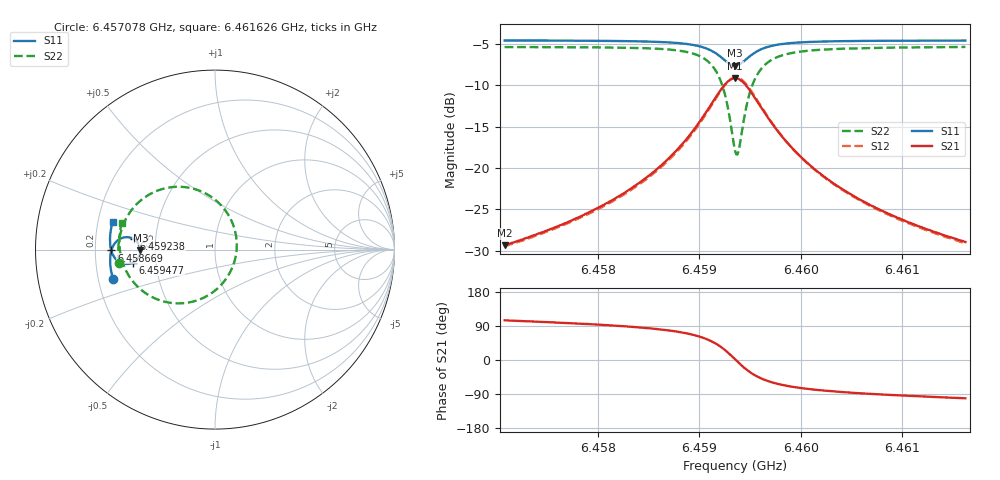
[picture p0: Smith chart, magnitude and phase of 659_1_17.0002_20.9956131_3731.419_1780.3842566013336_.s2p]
#  HZ  S  RI  R  50.00
! Rohde & Schwarz Vector Network Analyzer
! Rohde-Schwarz,ZNB20-2Port,1311601062101988,3.16
! Created: UTC 3/20/2024, 11:21:40 PM
! freq[Hz]  re:S11  im:S11  re:S21  im:S21  re:S12  im:S12  re:S22  im:S22
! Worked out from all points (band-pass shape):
!   401 points, 6.457078 GHz to 6.461626 GHz, reference 50 ohm
!   highest |S21| = -9.12 dB at 6.459352 GHz (marker M1); lowest = -29.4 dB at 6.457078 GHz (marker M2)
!   |S21| within 3 dB of the highest: 6.459126 GHz to 6.459581 GHz (455.3 kHz wide, 0.00705 % of centre)
!   lowest |S11| = -7.6 dB at 6.459352 GHz (marker M3), VSWR 2.43, Z = 20.6 - j0.25 ohm
!   |S11| at or under -10 dB: nowhere
!   |S22| runs from -18.4 to -5.3 dB; largest |S21 - S12| = 0.014
!   S11 on the Smith chart (normalised r, x): 6.457078 GHz: 0.26, -0.13; 6.458669 GHz: 0.27, -0.00; 6.459238 GHz: 0.37, +0.06; 6.459477 GHz: 0.37, -0.07; 6.461626 GHz: 0.26, +0.12
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6.4570776e9  -0.5688 -0.1645  -0.00864 0.0329  -0.00677 0.0329  -0.5344 -0.076
6.4578394e9  -0.5819 -0.0975  -0.00497 0.0511  -0.00244 0.0504  -0.5384 0.0142
6.4582715e9  -0.5842 -0.0539  0.0014 0.0714  0.00488 0.0699  -0.5286 0.0837
6.4586012e9  -0.5799 -0.0141  0.0155 0.0997  0.0195 0.0968  -0.5024 0.1593
6.4586695e9  -0.5774 -0.00461  0.0209 0.1081  0.0251 0.1048  -0.492 0.1792
6.4588628e9  -0.5645 0.0258  0.0481 0.1391  0.0521 0.134  -0.4411 0.2483
6.4590106e9  -0.5415 0.0518  0.094 0.1693  0.0971 0.1624  -0.3564 0.3123
6.459147e9  -0.4973 0.069  0.1818 0.1855  0.1824 0.1779  -0.1957 0.3501
6.459238e9  -0.4526 0.0585  0.2722 0.1536  0.2722 0.1478  -0.0281 0.2987
6.4593062e9  -0.4231 0.0262  0.3331 0.0813  0.3352 0.0761  0.0885 0.1681
6.4593517e9  -0.4161 -0.005  0.3496 0.0125  0.3534 0.00574  0.1213 0.0397
6.4593858e9  -0.4201 -0.0291  0.3439 -0.0404  0.3479 -0.0494  0.11 -0.0613
6.4594313e9  -0.4356 -0.0556  0.315 -0.1013  0.3173 -0.1132  0.0514 -0.1765
6.4594768e9  -0.458 -0.0722  0.2722 -0.143  0.2716 -0.1564  -0.0351 -0.2529
6.4595677e9  -0.502 -0.0793  0.1858 -0.1745  0.1796 -0.1863  -0.2076 -0.2998
6.459636e9  -0.5266 -0.072  0.1366 -0.1721  0.1285 -0.1813  -0.3028 -0.284
6.4597156e9  -0.5465 -0.0586  0.0965 -0.1599  0.0878 -0.1663  -0.3783 -0.2485
6.4598748e9  -0.5681 -0.0308  0.0511 -0.1312  0.0431 -0.1338  -0.4597 -0.1745
6.4601135e9  -0.5809 0.00492  0.0217 -0.099  0.0157 -0.0993  -0.5077 -0.0906
6.4604319e9  -0.585 0.0434  0.00642 -0.0728  0.00222 -0.0724  -0.528 -0.0151
6.4608754e9  -0.5829 0.0884  -0.00174 -0.0525  -0.00478 -0.0518  -0.5326 0.0579
6.4616258e9  -0.5706 0.1549  -0.00682 -0.035  -0.00853 -0.034  -0.5204 0.1474
